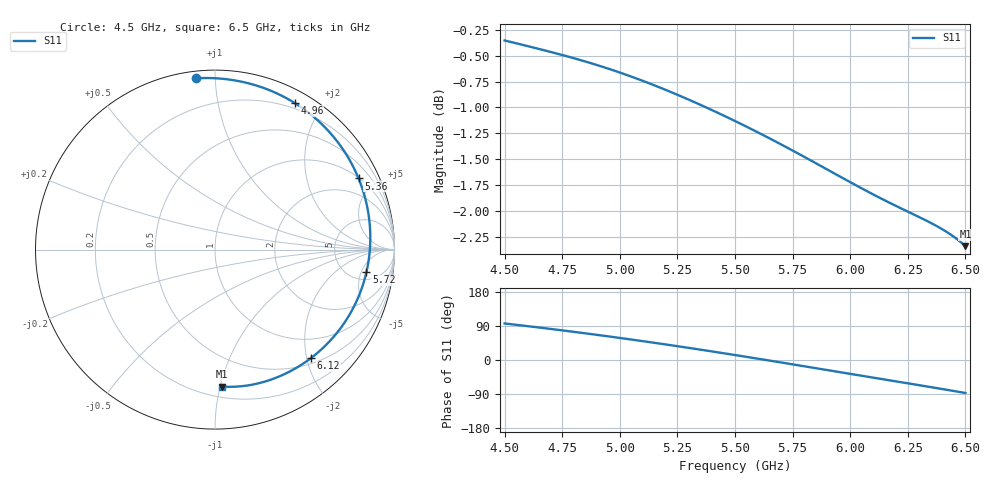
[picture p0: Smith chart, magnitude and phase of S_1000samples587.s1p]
! TOUCHSTONE file generated by CST MICROWAVE STUDIO
! Date and time: Fri Oct 28 16:53:47 2022
! Project name: L.cst
! Parameters = {Di=1.27; Epsilon_r=1.56; InnerDiameter=1.27; Length=2; Lf=10; Lg=60; OuterConductorThickness=0.2921; OuterDiameter=3.6; Wf=3; Wp=41.2; de=1.5; df=6.8; g=0.8; gx=3.02895; gy=4.79966; h=2.34; hf=1.524; px=10.2841; py=13.8368; w=9.7; wx=7.25514; wy=9.03716}
! Header version: 2018
! Port assignment regex: !\s*Touchstone port\s*([0-9]+)\s*=\s*(CST MWS port|CST DS port)\s*([0-9]+|Zmin|Zmax)\s*\(\"(.*)\"\)(\s*mode\s*([0-9]+))?.*
! Touchstone port assignment:
! Touchstone port 1 = CST MWS port 1 ("")
# GHz S DB R 50
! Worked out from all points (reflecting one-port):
!   101 points, 4.5 GHz to 6.5 GHz, reference 50 ohm
!   lowest |S11| = -2.3 dB at 6.5 GHz (marker M1), VSWR 7.47, Z = 13.8 - j50.7 ohm
!   phase of S11 starts at 96 deg and turns -184 deg over the sweep
!   S11 on the Smith chart (normalised r, x): 4.5 GHz: 0.04, +0.89; 4.96 GHz: 0.14, +1.67; 5.36 GHz: 1.03, +4.02; 5.72 GHz: 6.76, -6.25; 6.12 GHz: 0.60, -2.07; 6.5 GHz: 0.28, -1.01
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4.5  -0.35 96.5
4.58  -0.40 90.8
4.64  -0.43 86.4
4.76  -0.50 77.4
4.86  -0.56 69.6
4.96  -0.63 61.5
5  -0.66 58.2
5.12  -0.76 48.0
5.18  -0.81 42.7
5.26  -0.89 35.6
5.36  -0.99 26.4
5.44  -1.07 18.8
5.5  -1.13 13.1
5.56  -1.20 7.3
5.62  -1.26 1.4
5.72  -1.38 -8.5
5.76  -1.43 -12.5
5.82  -1.50 -18.5
5.88  -1.57 -24.5
6  -1.72 -36.6
6.06  -1.79 -42.6
6.12  -1.86 -48.6
6.2  -1.95 -56.6
6.26  -2.02 -62.5
6.32  -2.08 -68.6
6.38  -2.15 -74.6
6.44  -2.23 -80.8
6.5  -2.34 -87.1
